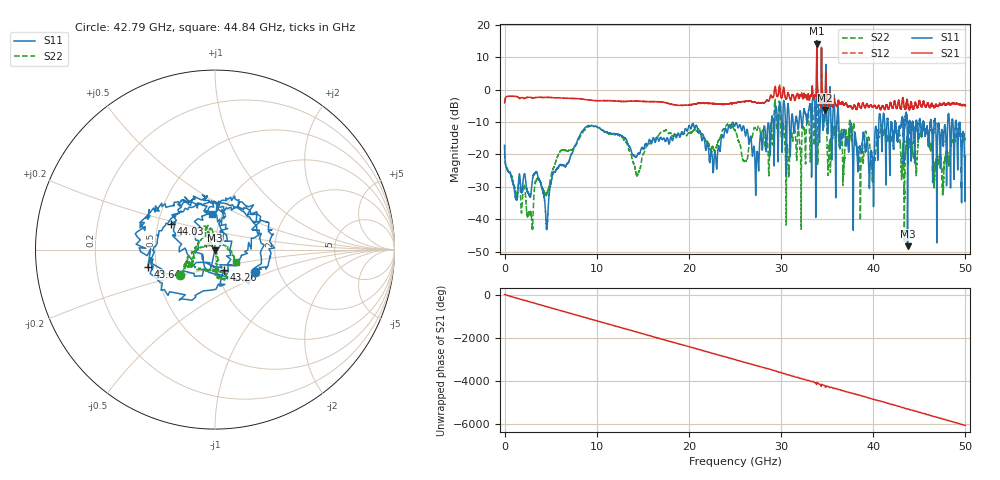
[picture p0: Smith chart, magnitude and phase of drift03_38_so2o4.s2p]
!Created with skrf (http://scikit-rf.org).
# Hz S RI R 50.0
!freq ReS11 ImS11 ReS21 ImS21 ReS12 ImS12 ReS22 ImS22
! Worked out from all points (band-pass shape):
!   10001 points, 300 kHz to 50 GHz, reference 50 ohm
!   highest |S21| = 14.31 dB at 33.88 GHz (marker M1); lowest = -6.3 dB at 34.79 GHz (marker M2)
!   |S21| within 3 dB of the highest: 33.86931 GHz to 33.88882 GHz (19.51 MHz wide, 0.0576 % of centre); 34.37671 GHz to 34.39023 GHz (13.52 MHz wide, 0.0393 % of centre)
!   lowest |S11| = -48.3 dB at 43.72 GHz (marker M3), VSWR 1.01, Z = 49.9 - j0.36 ohm
!   |S11| at or under -10 dB: start of sweep to 28.94 GHz; 36.26 GHz to 40.61 GHz (4.342 GHz wide, 11.3 % of centre); 46.74 GHz to 48.08 GHz (1.34 GHz wide, 2.83 % of centre) (the widest 3 of 57)
!   |S22| runs from -46.6 to 11.0 dB; largest |S21 - S12| = 0.83
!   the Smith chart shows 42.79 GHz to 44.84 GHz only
!   S11 on the Smith chart (normalised r, x): 42.79 GHz: 1.51, -0.41; 43.26 GHz: 1.07, -0.25; 43.64 GHz: 0.45, -0.10; 44.03 GHz: 0.58, +0.18; 44.84 GHz: 0.89, +0.37
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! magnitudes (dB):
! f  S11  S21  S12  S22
! 300 kHz  -17.2  -4.0  -4.0  -17.0
! 2.825 GHz  -32.6  -2.4  -2.4  -38.3
! 4.565 GHz  -42.3  -2.3  -2.3  -32.3
! 8.335 GHz  -13.1  -2.8  -2.8  -13.9
! 14.43 GHz  -20.0  -3.5  -3.5  -26.2
! 16.67 GHz  -15.4  -3.7  -3.7  -14.3
! 25 GHz  -11.0  -4.0  -4.0  -12.6
! 27.39 GHz  -19.4  -4.1  -4.1  -12.4
! 29.6 GHz  -10.4  -2.0  -2.1  -11.7
! 30.7 GHz  -5.7  -1.5  -1.5  -17.3
! 33.34 GHz  -14.0  -0.4  -0.5  -7.1
! 33.88 GHz  15.2  14.3  14.0  10.8
! 34.79 GHz  -3.1  -6.3  -4.9  -8.6
! 39.81 GHz  -19.1  -4.9  -4.9  -23.6
! 41.67 GHz  -12.1  -6.0  -5.9  -15.1
! 42.79 GHz  -11.8  -3.4  -3.5  -12.3
! 43.26 GHz  -18.1  -3.2  -3.4  -17.9
! 43.64 GHz  -8.3  -3.0  -3.3  -15.4
! 43.72 GHz  -48.3  -4.0  -3.9  -17.6
! 44.03 GHz  -10.9  -5.0  -5.0  -15.7
! 44.84 GHz  -13.9  -5.4  -5.5  -17.1
! 50 GHz  -20.3  -4.8  -4.9  -15.1
